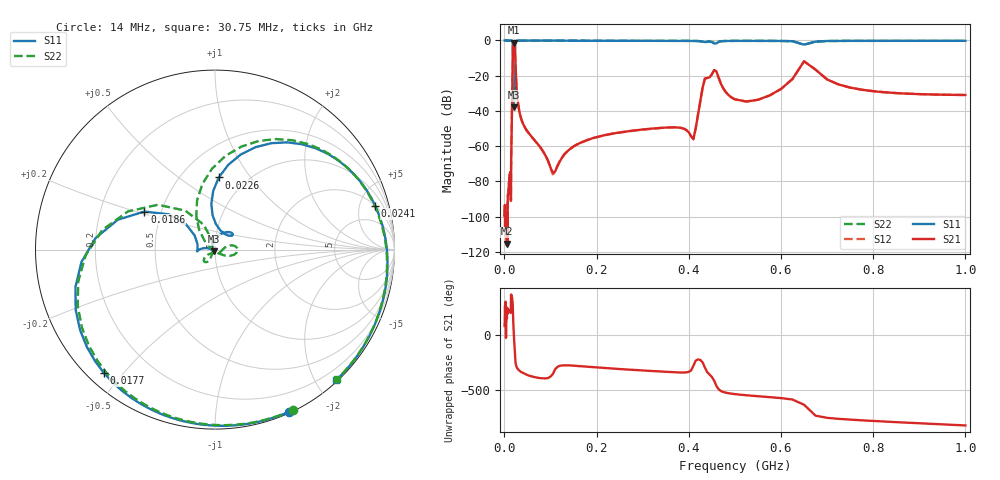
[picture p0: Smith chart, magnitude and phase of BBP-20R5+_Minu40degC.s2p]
! Mini-Circuits
! S2P DATA File Format
! Type: BAND PASS FILTER
! Model: BBP-20R5+
! All S Parameters are in dB deg format
! TEST CONDITIONS: INPUT POWER = 0 dBm @ Temperature = -40deg C
# MHz S dB R 50
!Frequency  S11 dB  S11 DEG  S21 dB  S21 DEG  S12 dB  S12 DEG  S22 dB  S22 DEG
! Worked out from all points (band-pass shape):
!   421 points, 500 kHz to 1 GHz, reference 50 ohm
!   highest |S21| = -1.24 dB at 20.8 MHz (marker M1); lowest = -115.4 dB at 6.5 MHz (marker M2)
!   |S21| within 3 dB of the highest: 18.6 MHz to 22.86 MHz (4.262 MHz wide, 20.6 % of centre)
!   lowest |S11| = -38.0 dB at 20.1 MHz (marker M3), VSWR 1.03, Z = 49.2 - j0.978 ohm
!   |S11| at or under -10 dB: 18.71 MHz to 22.49 MHz (3.78 MHz wide, 18.4 % of centre)
!   |S22| runs from -35.7 to 0.0 dB; largest |S21 - S12| = 0.0015
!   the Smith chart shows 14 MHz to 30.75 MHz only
!   S11 on the Smith chart (normalised r, x): 14 MHz: 0.01, -1.56; 17.7 MHz: 0.05, -0.44; 18.6 MHz: 0.40, +0.21; 22.6 MHz: 0.75, +0.72; 24.1 MHz: 2.01, +6.86; 30.75 MHz: 0.02, -2.29
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0.5  0.00 -1.9  -99.06 83.7  -98.97 106.8  -0.00 -1.9
2  0.00 -7.5  -101.84 147.8  -98.61 146.5  -0.00 -7.4
6.5  -0.00 -25.1  -115.39 -167.8  -97.68 -104.4  -0.00 -24.7
14  -0.05 -65.3  -86.53 -138.3  -87.49 -129.5  -0.06 -64.1
17.7  -0.68 -131.9  -20.70 -53.9  -20.72 -53.9  -0.77 -131.3
18.6  -6.99 151.7  -4.22 -147.9  -4.24 -147.9  -7.88 141.8
19.4  -20.62 -177.9  -1.61 105.2  -1.62 105.2  -21.15 -135.6
20.1  -38.01 -127.9  -1.31 40.8  -1.32 40.8  -33.22 -58.7
20.8  -26.68 96.4  -1.24 -14.9  -1.25 -14.9  -24.56 12.6
22  -19.80 58.2  -1.41 -105.9  -1.43 -105.9  -30.97 -48.0
22.4  -11.85 94.6  -1.97 -140.9  -1.98 -140.9  -13.41 119.2
22.6  -7.90 87.0  -2.69 -159.3  -2.71 -159.3  -8.59 100.9
24.1  -0.67 15.3  -14.34 112.6  -14.34 112.6  -0.73 16.6
30.75  -0.07 -47.1  -37.74 45.0  -37.75 45.0  -0.07 -46.6
80  -0.08 -130.9  -61.42 -31.2  -61.55 -31.7  -0.06 -128.8
110  -0.10 -153.6  -74.44 49.9  -74.84 48.5  -0.08 -151.1
285  -0.20 137.4  -51.02 43.3  -51.06 43.3  -0.17 142.7
405  -0.25 105.5  -54.38 39.8  -54.38 39.8  -0.24 113.2
450  -0.91 92.9  -19.25 -19.1  -19.25 -19.2  -0.78 103.0
500  -0.24 87.2  -33.43 -175.8  -33.45 -175.8  -0.23 95.7
675  -0.68 56.3  -16.57 -11.9  -16.58 -11.9  -0.68 67.7
1000  -0.19 -17.5  -30.97 -100.8  -30.98 -100.9  -0.20 -0.6
